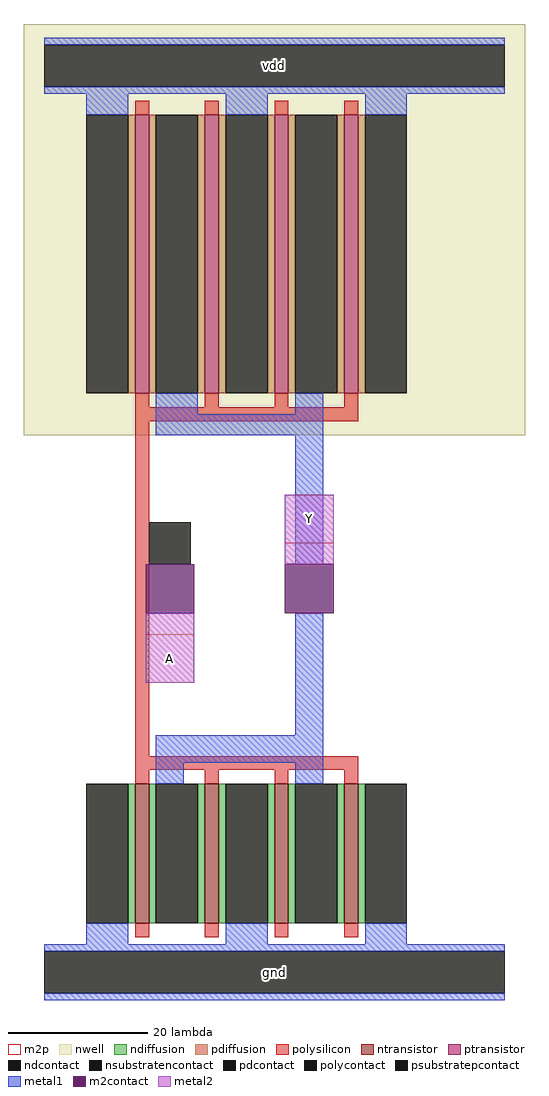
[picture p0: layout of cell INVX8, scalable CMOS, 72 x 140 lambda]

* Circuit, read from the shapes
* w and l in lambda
.subckt INVX8 A Y vdd gnd
M1 Y A gnd gnd nfet w=20 l=2 m=4
M2 Y A vdd vdd pfet w=40 l=2 m=4
.ends

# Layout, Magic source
magic
tech scmos
magscale 1 2
<< nwell >>
rect -12 154 132 272
<< ntransistor >>
rect 20 14 24 54
rect 40 14 44 54
rect 60 14 64 54
rect 80 14 84 54
<< ptransistor >>
rect 20 166 24 246
rect 40 166 44 246
rect 60 166 64 246
rect 80 166 84 246
<< ndiffusion >>
rect 18 14 20 54
rect 24 14 26 54
rect 38 14 40 54
rect 44 14 46 54
rect 58 14 60 54
rect 64 14 66 54
rect 78 14 80 54
rect 84 14 86 54
<< pdiffusion >>
rect 18 166 20 246
rect 24 166 26 246
rect 38 166 40 246
rect 44 166 46 246
rect 58 166 60 246
rect 64 166 66 246
rect 78 166 80 246
rect 84 166 86 246
<< ndcontact >>
rect 6 14 18 54
rect 26 14 38 54
rect 46 14 58 54
rect 66 14 78 54
rect 86 14 98 54
<< pdcontact >>
rect 6 166 18 246
rect 26 166 38 246
rect 46 166 58 246
rect 66 166 78 246
rect 86 166 98 246
<< psubstratepcontact >>
rect -6 -6 126 6
<< nsubstratencontact >>
rect -6 254 126 266
<< polysilicon >>
rect 20 246 24 250
rect 40 246 44 250
rect 60 246 64 250
rect 80 246 84 250
rect 20 162 24 166
rect 40 162 44 166
rect 60 162 64 166
rect 80 162 84 166
rect 20 158 84 162
rect 20 62 24 158
rect 20 58 84 62
rect 20 54 24 58
rect 40 54 44 58
rect 60 54 64 58
rect 80 54 84 58
rect 20 10 24 14
rect 40 10 44 14
rect 60 10 64 14
rect 80 10 84 14
<< polycontact >>
rect 24 117 36 129
<< metal1 >>
rect -6 266 126 268
rect -6 252 126 254
rect 6 246 18 252
rect 46 246 58 252
rect 86 246 98 252
rect 26 160 38 166
rect 66 160 74 166
rect 26 154 74 160
rect 66 117 74 154
rect 66 68 74 103
rect 26 60 74 68
rect 26 54 34 60
rect 66 54 74 60
rect 6 8 18 14
rect 46 8 58 14
rect 86 8 98 14
rect -6 6 126 8
rect -6 -8 126 -6
<< m2contact >>
rect 23 103 37 117
rect 63 103 77 117
<< metal2 >>
rect 63 117 77 137
rect 23 83 37 103
<< m2p >>
rect 63 123 77 137
rect 23 83 37 97
<< labels >>
rlabel metal2 23 83 37 97 0 A
port 0 nsew signal input
rlabel metal2 63 123 77 137 0 Y
port 1 nsew signal output
rlabel metal1 -6 252 126 268 0 vdd
port 2 nsew power bidirectional abutment
rlabel metal1 -6 -8 126 8 0 gnd
port 3 nsew ground bidirectional abutment
<< properties >>
string FIXED_BBOX 0 0 120 260
string LEFclass CORE
string LEFsite core
string LEFsymmetry X Y
<< end >>
